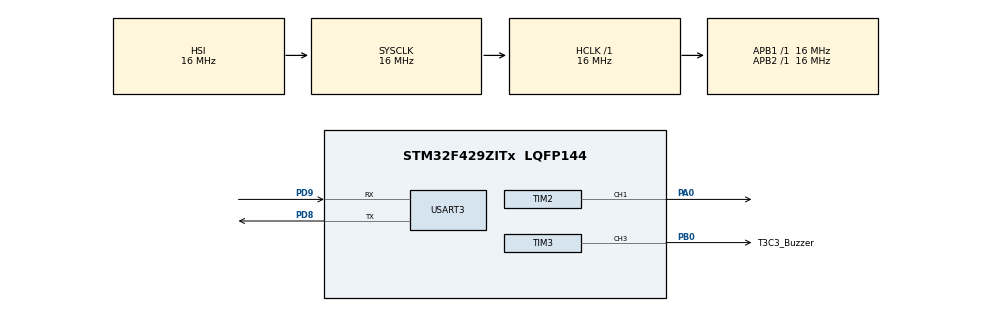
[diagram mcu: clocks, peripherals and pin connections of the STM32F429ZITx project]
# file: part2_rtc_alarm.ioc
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Mcu.Family=STM32F4
NVIC.USART3_IRQn=true\:0\:0\:false\:true\:true\:1\:true\:true
RCC.CortexFreq_Value=16000000
VP_RTC_VS_RTC_Activate.Mode=RTC_Enabled
RTC.WeekDay=RTC_WEEKDAY_THURSDAY
PA0/WKUP.Signal=S_TIM2_CH1_ETR
PB0.GPIO_Label=T3C3_Buzzer
PD9.Signal=USART3_RX
PC14/OSC32_IN.Mode=LSE-External-Oscillator
SH.S_TIM3_CH3.0=TIM3_CH3,PWM Generation3 CH3
PD9.Mode=Asynchronous
ProjectManager.StackSize=0x400
TIM2.Pulse-PWM\ Generation1\ CH1=100
TIM3.Channel-PWM\ Generation3\ CH3=TIM_CHANNEL_3
ProjectManager.TargetToolchain=STM32CubeIDE
RTC.Year=20
TIM3.Period=10000-1
PD8.Signal=USART3_TX
PD8.Mode=Asynchronous
RCC.AHBFreq_Value=16000000
TIM3.Pulse-PWM\ Generation3\ CH3=5000
RCC.HSE_VALUE=25000000
board=custom
RCC.VCOOutputFreq_Value=192000000
NVIC.TIM3_IRQn=true\:0\:0\:false\:true\:true\:2\:true\:true
RCC.APB2Freq_Value=16000000
RTC.Month=RTC_MONTH_JUNE
VP_TIM2_VS_ClockSourceINT.Mode=Internal
TIM3.Prescaler=16-1
NVIC.TIM2_IRQn=true\:0\:0\:false\:true\:true\:3\:true\:true
TIM2.Channel-PWM\ Generation1\ CH1=TIM_CHANNEL_1
TIM2.Period=10000-1
Mcu.Name=STM32F429ZITx
RCC.SYSCLKFreq_VALUE=16000000
RTC.Hours=12
Mcu.Package=LQFP144
TIM2.Prescaler=1600-1
USART3.VirtualMode=VM_ASYNC
PC14/OSC32_IN.Signal=RCC_OSC32_IN
PC15/OSC32_OUT.Mode=LSE-External-Oscillator
SH.S_TIM2_CH1_ETR.0=TIM2_CH1,PWM Generation1 CH1
VP_RTC_VS_RTC_Calendar.Mode=RTC_Calendar
RTC.HourFormat=RTC_HOURFORMAT_12
ProjectManager.HeapSize=0x200
RCC.HSI_VALUE=16000000
NVIC.PriorityGroup=NVIC_PRIORITYGROUP_4
TIM2.AutoReloadPreload=TIM_AUTORELOAD_PRELOAD_ENABLE
PC15/OSC32_OUT.Signal=RCC_OSC32_OUT
RCC.APB1Freq_Value=16000000
PB0.Signal=S_TIM3_CH3
RTC.Date=17
VP_TIM3_VS_ClockSourceINT.Mode=Internal

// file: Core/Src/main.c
/* USER CODE BEGIN Header */
/**
  ******************************************************************************
  * @file           : main.c
  * @brief          : Main program body
  ******************************************************************************
  * @attention
  *
  * <h2><center>&copy; Copyright (c) 2021 STMicroelectronics.
  * All rights reserved.</center></h2>
  *
  * This software component is licensed by ST under BSD 3-Clause license,
  * the "License"; You may not use this file except in compliance with the
  * License. You may obtain a copy of the License at:
  *                        opensource.org/licenses/BSD-3-Clause
  *
  ******************************************************************************
  */
/* USER CODE END Header */
#include "main.h"
#include "rtc.h"
#include "tim.h"
#include "usart.h"
#include "gpio.h"

/* USER CODE BEGIN Includes */
#include "pitches.h"
#include "alarmSongs.h"
#include "string.h"
#include "stdlib.h"
#include "math.h"
#include "stdio.h"
/* USER CODE END Includes */
/* USER CODE BEGIN PV */
char rx_data;
char rx_buf[100]={'0'};
char tx_buf[200]={'0'};
char tokens[3][100]={'\0'};
int idx,idx_song;
float fArr,fDuration;
uint32_t uArr,uDuration;
int nNotes = sizeof(bike)/sizeof(bike[0]);
int count, end, count_interval,interval,end_interval;
char* AMPM[2]={"AM","PM"};
int isAlarmSet, isPlaying;
RTC_TimeTypeDef currentT ={0}, alarmT={0};
RTC_DateTypeDef currentD ={0};
int date_limit[12] = {31,28,31,30,31,30,31,31,30,31,30,31};
int year,month,date,h,m,s;
char ampm;
int isValidCommand;
/* USER CODE END PV */

void SystemClock_Config(void);
static void MX_NVIC_Init(void);
/* USER CODE BEGIN PFP */

//-----------------------------------------------------------------------------------------Command Error
void refresh()
{
	memset(tx_buf,0,sizeof(tx_buf));
	sprintf(tx_buf,"\r\n command not found.\r\n> ");
	HAL_UART_Transmit(&huart3,(uint8_t*)tx_buf,strlen(tx_buf),1000);
	memset(tx_buf,0,sizeof(tx_buf));
	memset(rx_buf,0,sizeof(rx_buf));
	idx = 0;
}

//-----------------------------------------------------------------------------------------response
void response(int time0_alarm1,int time0_date1_both2)
{
	char stampD[30]={'\0'};
	char stampT[30]={'\0'};
	sprintf(stampD,"20%02d-%02d-%02d",currentD.Year,currentD.Month,currentD.Date);
	if(time0_alarm1==0)
	{
		sprintf(stampT,"%s %02d:%02d:%02d",\
				AMPM[currentT.TimeFormat>>6],currentT.Hours,currentT.Minutes,currentT.Seconds);
	}
	else
	{
		sprintf(stampT,"[Alarm] %s %02d:%02d:%02d",\
				AMPM[alarmT.TimeFormat>>6],alarmT.Hours,alarmT.Minutes,alarmT.Seconds);
	}
	memset(tx_buf,0,sizeof(tx_buf));
	strcat(tx_buf,"\r\n< ");
	switch(time0_date1_both2)
	{
	case 0:
		strcat(tx_buf,stampD);
		break;
	case 1:
		strcat(tx_buf,stampT);
		break;
	case 2:
		strcat(tx_buf,stampD);
		strcat(tx_buf," ");
		strcat(tx_buf,stampT);
		break;
	}
	strcat(tx_buf,"\r\n> ");
	HAL_UART_Transmit(&huart3,(uint8_t*)tx_buf,strlen(tx_buf),1000);
	memset(tx_buf,0,sizeof(tx_buf));
	memset(rx_buf,0,sizeof(rx_buf));
	idx = 0;
}

//-----------------------------------------------------------------------------------------0)Get Date
void get_date()
{
	HAL_RTC_GetTime(&hrtc, &currentT, RTC_FORMAT_BIN);
	HAL_RTC_GetDate(&hrtc, &currentD, RTC_FORMAT_BIN);
	response(0,0);
}
//-----------------------------------------------------------------------------------------1)Get Time
void get_time()
{
	HAL_RTC_GetTime(&hrtc, &currentT, RTC_FORMAT_BIN);
	HAL_RTC_GetDate(&hrtc, &currentD, RTC_FORMAT_BIN);
	response(0,1);
}
//-----------------------------------------------------------------------------------------2)Get DateTime
void get_date_time()
{
	HAL_RTC_GetTime(&hrtc, &currentT, RTC_FORMAT_BIN);
	HAL_RTC_GetDate(&hrtc, &currentD, RTC_FORMAT_BIN);
	response(0,2);
}

//-----------------------------------------------------------------------------------------3)Set Date
void set_date()
{
	if(strlen(tokens[1])!=6)refresh();
	else
	{
		sscanf(tokens[1],"%02d%02d%02d",&year,&month,&date);
		if(month<1 || month>12)refresh();
		else if(date<1 && date>date_limit[month-1])refresh();
		else
		{
			currentD.Year  = year;
			currentD.Month = month;
			currentD.Date  = date;
			HAL_RTC_SetDate(&hrtc, &currentD, RTC_FORMAT_BIN);
			HAL_RTC_GetTime(&hrtc, &currentT, RTC_FORMAT_BIN);
			HAL_RTC_GetDate(&hrtc, &currentD, RTC_FORMAT_BIN);
			response(0,0);
		}
	}
}
//-----------------------------------------------------------------------------------------4)Set Time
void set_time()
{
	if(strlen(tokens[1])!=7)refresh();
	else
	{
		sscanf(tokens[1],"%c%02d%02d%02d",&ampm,&h,&m,&s);
		if(!(ampm=='A' || ampm=='P'))refresh();
		else if(h<0 && h>12)refresh();
		else if(m<0 && m>59)refresh();
		else if(s<0 && s>59)refresh();
		else
		{
			if(ampm=='A')currentT.TimeFormat      &= ~(1<<6);
			else if(ampm=='P')currentT.TimeFormat |=  (1<<6);
			currentT.Hours=h;
			currentT.Minutes=m;
			currentT.Seconds=s;
			HAL_RTC_SetTime(&hrtc, &currentT, RTC_FORMAT_BIN);
			HAL_RTC_GetTime(&hrtc, &currentT, RTC_FORMAT_BIN);
			HAL_RTC_GetDate(&hrtc, &currentD, RTC_FORMAT_BIN);
			response(0,1);
		}
	}
}

//-----------------------------------------------------------------------------------------5)Set DateTime
void set_date_time()
{
	if(!(strlen(tokens[1])==6 && strlen(tokens[2])==7))refresh();
	else
	{
		sscanf(tokens[1],"%02d%02d%02d",&year,&month,&date);
		sscanf(tokens[2],"%c%02d%02d%02d",&ampm,&h,&m,&s);
		if(month<1 || month>12)refresh();
		else if(date<1 && date>date_limit[month-1])refresh();
		else if(!(ampm=='A' || ampm=='P'))refresh();
		else if(h<0 && h>12)refresh();
		else if(m<0 && m>59)refresh();
		else if(s<0 && s>59)refresh();
		else
		{
			currentD.Year  = year;
			currentD.Month = month;
			currentD.Date  = date;
			if(ampm=='A')currentT.TimeFormat      &= ~(1<<6);
			else if(ampm=='P')currentT.TimeFormat |=  (1<<6);
			currentT.Hours=h;
			currentT.Minutes=m;
			currentT.Seconds=s;
			HAL_RTC_SetDate(&hrtc, &currentD, RTC_FORMAT_BIN);
			HAL_RTC_SetTime(&hrtc, &currentT, RTC_FORMAT_BIN);
			HAL_RTC_GetTime(&hrtc, &currentT, RTC_FORMAT_BIN);
			HAL_RTC_GetDate(&hrtc, &currentD, RTC_FORMAT_BIN);
			response(0,2);
		}
	}
}
//-----------------------------------------------------------------------------------------6)Set Alarm
void set_alarm_time()
{
	if(strlen(tokens[1])!=7)refresh();
	else
	{
		sscanf(tokens[1],"%c%02d%02d%02d",&ampm,&h,&m,&s);
		if(!(ampm=='A' || ampm=='P'))refresh();
		else if(h<0 && h>12)refresh();
		else if(m<0 && m>59)refresh();
		else if(s<0 && s>59)refresh();
		else
		{
			alarmT.Hours=h;
			alarmT.Minutes=m;
			alarmT.Seconds=s;
			if(ampm=='A')alarmT.TimeFormat      &= ~(1<<6);
			else if(ampm=='P')alarmT.TimeFormat |=  (1<<6);
			isAlarmSet=1;
			response(1,1);
		}
	}
}

//-----------------------------------------------------------------------------------------play a song
void play_a_song()
{
	get_time();
	isPlaying = 1;
	memset(tx_buf,0,sizeof(tx_buf));
	sprintf(tx_buf,"\r\n -----> Alarm Music Starts!!!\r\n");
	HAL_UART_Transmit(&huart3,(uint8_t*)tx_buf,strlen(tx_buf),1000);
	memset(tx_buf,0,sizeof(tx_buf));
	HAL_TIM_PWM_Start_IT(&htim3,TIM_CHANNEL_3);
}

//-----------------------------------------------------------------------------------------clear
void clear()
{
	sprintf(tx_buf,"\r\n");
	for(int i=0;i<40;i++)
		strcat(tx_buf,"\r\n");
	HAL_UART_Transmit(&huart3,(uint8_t*)tx_buf,strlen(tx_buf),1000);
	strcat(tx_buf,"\r\n> ");
	HAL_UART_Transmit(&huart3,(uint8_t*)tx_buf,strlen(tx_buf),1000);
	memset(tx_buf,0,sizeof(tx_buf));
}

//-----------------------------------------------------------------------------------------Menu array
void (*serve_the_menu[8])(void) = {\
		get_date,get_time,get_date_time,\
		set_date,set_time,set_date_time,\
		set_alarm_time,clear\
};

/* USER CODE END PFP */

int main(void)
{

  /* MCU Configuration--------------------------------------------------------*/

  /* Reset of all peripherals, Initializes the Flash interface and the Systick. */
  HAL_Init();

  /* Configure the system clock */
  SystemClock_Config();

  /* Initialize all configured peripherals */
  MX_GPIO_Init();
  MX_RTC_Init();
  MX_TIM2_Init();
  MX_TIM3_Init();
  MX_USART3_UART_Init();

  /* Initialize interrupts */
  MX_NVIC_Init();
  /* USER CODE BEGIN 2 */
  HAL_UART_Receive_IT(&huart3,(uint8_t*)&rx_data,1);
  HAL_TIM_Base_Start(&htim2);
  HAL_TIM_PWM_Start_IT(&htim2,TIM_CHANNEL_1);
  /* USER CODE END 2 */

  /* Infinite loop */
  /* USER CODE BEGIN WHILE */
  sprintf(tx_buf,"> ");
  HAL_UART_Transmit(&huart3,(uint8_t*)tx_buf,strlen(tx_buf),1000);
  memset(tx_buf,0,sizeof(tx_buf));
  while (1)
  {
    /* USER CODE END WHILE */

  }
}

void SystemClock_Config(void)
{
  RCC_OscInitTypeDef RCC_OscInitStruct = {0};
  RCC_ClkInitTypeDef RCC_ClkInitStruct = {0};
  RCC_PeriphCLKInitTypeDef PeriphClkInitStruct = {0};

  /** Configure the main internal regulator output voltage
  */
  __HAL_RCC_PWR_CLK_ENABLE();
  __HAL_PWR_VOLTAGESCALING_CONFIG(PWR_REGULATOR_VOLTAGE_SCALE3);
  /** Initializes the RCC Oscillators according to the specified parameters
  * in the RCC_OscInitTypeDef structure.
  */
  RCC_OscInitStruct.OscillatorType = RCC_OSCILLATORTYPE_HSI|RCC_OSCILLATORTYPE_LSI;
  RCC_OscInitStruct.HSIState = RCC_HSI_ON;
  RCC_OscInitStruct.HSICalibrationValue = RCC_HSICALIBRATION_DEFAULT;
  RCC_OscInitStruct.LSIState = RCC_LSI_ON;
  RCC_OscInitStruct.PLL.PLLState = RCC_PLL_NONE;
  if (HAL_RCC_OscConfig(&RCC_OscInitStruct) != HAL_OK)
  {
    Error_Handler();
  }
  /** Initializes the CPU, AHB and APB buses clocks
  */
  RCC_ClkInitStruct.ClockType = RCC_CLOCKTYPE_HCLK|RCC_CLOCKTYPE_SYSCLK
                              |RCC_CLOCKTYPE_PCLK1|RCC_CLOCKTYPE_PCLK2;
  RCC_ClkInitStruct.SYSCLKSource = RCC_SYSCLKSOURCE_HSI;
  RCC_ClkInitStruct.AHBCLKDivider = RCC_SYSCLK_DIV1;
  RCC_ClkInitStruct.APB1CLKDivider = RCC_HCLK_DIV1;
  RCC_ClkInitStruct.APB2CLKDivider = RCC_HCLK_DIV1;

  if (HAL_RCC_ClockConfig(&RCC_ClkInitStruct, FLASH_LATENCY_0) != HAL_OK)
  {
    Error_Handler();
  }
  PeriphClkInitStruct.PeriphClockSelection = RCC_PERIPHCLK_RTC;
  PeriphClkInitStruct.RTCClockSelection = RCC_RTCCLKSOURCE_LSI;
  if (HAL_RCCEx_PeriphCLKConfig(&PeriphClkInitStruct) != HAL_OK)
  {
    Error_Handler();
  }
}

/**
  * @brief NVIC Configuration.
  * @retval None
  */
static void MX_NVIC_Init(void)
{
  /* USART3_IRQn interrupt configuration */
  HAL_NVIC_SetPriority(USART3_IRQn, 0, 0);
  HAL_NVIC_EnableIRQ(USART3_IRQn);
  /* TIM3_IRQn interrupt configuration */
  HAL_NVIC_SetPriority(TIM3_IRQn, 0, 0);
  HAL_NVIC_EnableIRQ(TIM3_IRQn);
  /* TIM2_IRQn interrupt configuration */
  HAL_NVIC_SetPriority(TIM2_IRQn, 0, 0);
  HAL_NVIC_EnableIRQ(TIM2_IRQn);
}

/* USER CODE BEGIN 4 */
void HAL_UART_RxCpltCallback(UART_HandleTypeDef *huart)
{
	if(huart->Instance == USART3)
	{
		HAL_UART_Receive_IT(&huart3,(uint8_t*)&rx_data,1);
		if(rx_data=='\b')
		{
			char backspace[] = "\b ";
			HAL_UART_Transmit(&huart3, (uint8_t*)& backspace, strlen(backspace), 1000);
			if (idx >= 1)
			{
				rx_buf[idx--] = '\0';
				rx_buf[idx]   = '\0';
			}
		}
		HAL_UART_Transmit(&huart3,(uint8_t*)&rx_data,1,1000);
		if(rx_data == '\r')
		{
			if(idx==0){}
			else
			{
				char* cmd[8] = {"GetDate","GetTime","GetDateTime",\
								"SetDate","SetTime","SetDateTime",\
								"SetAlarm","clear"};
				int valid_nstrings[8] = {1,1,1,2,2,3,2,1};
				char delimit[] = " ";
				char* temp;
				temp = strtok(rx_buf, delimit);
				int counting = 0;
				while (1)
				{
					if(temp == 0) break;
					strcpy(tokens[counting], temp);
					temp = strtok(NULL, delimit);
					counting++;
				}
				for(int i=0;i<8;i++)
				{
					if(strcmp(tokens[0],cmd[i])==0 && counting==valid_nstrings[i])
					{
						serve_the_menu[i]();
						isValidCommand=1;
					}
				}
				if(isValidCommand==0)refresh();
			}
			memset(rx_buf,0,sizeof(rx_buf));
			idx=0;
			for(int i=0;i<3;i++)memset(tokens[i],0,sizeof(tokens[i]));
			isValidCommand=0;
		}
		else if(rx_data!='\b'){rx_buf[idx++]=rx_data;}
	}
}
void HAL_TIM_PWM_PulseFinishedCallback(TIM_HandleTypeDef *htim)
{
	if(htim->Instance == TIM3)
	{
		if(isPlaying==1)
		{
			HAL_TIM_PWM_Start_IT(&htim3,TIM_CHANNEL_3);
			if(count == 0)
			{
				if(bike[idx_song]==0)
				{
					fArr   = 1000;   							uArr = (uint32_t)round(fArr);
					fDuration = 2*1000/bike_tempos[idx_song]; 	uDuration = (uint32_t)round(fDuration);
					TIM3->ARR = uArr-1;
					TIM3->CCR3 = 1;
				}
				else
				{
					fArr   = pow(10,6)/bike[idx_song];   		uArr = (uint32_t)round(fArr);
					fDuration = 2*1000/bike_tempos[idx_song]; 	uDuration = (uint32_t)round(fDuration);
					TIM3->ARR = uArr-1;
					TIM3->CCR3 = (uint32_t)round((uArr-1)/2);
					end = round(fDuration*1000/fArr);
				}
				end = round(fDuration*1000/fArr);
				end_interval = round(100*1000/fArr);
				count++;
				memset(tx_buf,0,sizeof(tx_buf));
				sprintf(tx_buf,"\t\tnote[%d] = %lu Hz, arr = %lu \r\n",idx_song,bike[idx_song],TIM3->ARR);
				HAL_UART_Transmit(&huart3,(uint8_t*)tx_buf,strlen(tx_buf),1000);
				interval=1;
			}
			else if(count == end)
			{
				if(interval==1)
				{
					if(count_interval==0) {TIM3->CCR3=1;count_interval++;}
					else if(count_interval==end_interval) {count_interval=0;interval=0;}
					else {count_interval++;}
				}
				else
				{
					idx_song++;
					if (idx_song==nNotes-1)
					{
						isPlaying=0;
						get_time();
						sprintf(tx_buf,">");
						HAL_UART_Transmit(&huart3,(uint8_t*)tx_buf,strlen(tx_buf),1000);
						memset(tx_buf,0,sizeof(tx_buf));
					}
					count = 0;
				}
			}
			else {count++;}
		}
	}
	if(htim->Instance==TIM2)
	{
		HAL_TIM_PWM_Start_IT(&htim2,TIM_CHANNEL_1);
		HAL_RTC_GetTime(&hrtc, &currentT, RTC_FORMAT_BIN);
		HAL_RTC_GetDate(&hrtc, &currentD, RTC_FORMAT_BIN);
		if(isAlarmSet==1)
		{
			if(currentT.TimeFormat==alarmT.TimeFormat)
				if(currentT.Hours==alarmT.Hours)
					if(currentT.Minutes==alarmT.Minutes)
						if(currentT.Seconds==alarmT.Seconds) {isPlaying=1;play_a_song();}
		}
	}
}

/* USER CODE END 4 */

void Error_Handler(void)
{
  __disable_irq();
  while (1)
  {
  }
}

/************************ (C) COPYRIGHT STMicroelectronics *****END OF FILE****/
